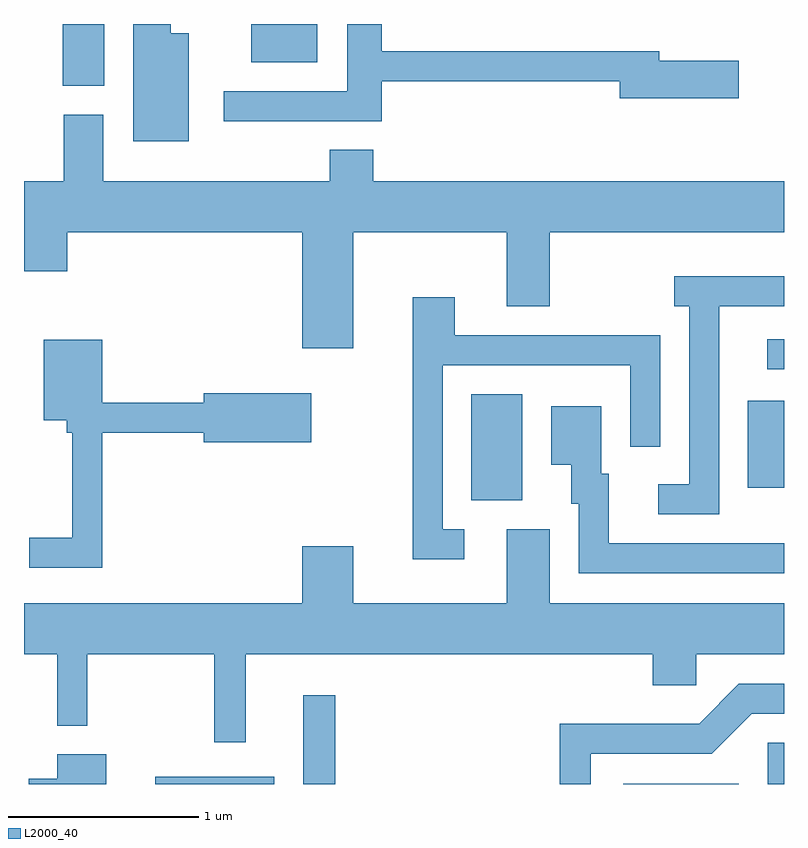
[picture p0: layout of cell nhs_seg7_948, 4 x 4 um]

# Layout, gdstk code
import gdstk
lib = gdstk.Library(unit=1e-6, precision=1e-09)
def R(c, l, rs):  # rectangles x0, y0, x1, y1
    for r in rs: c.add(gdstk.rectangle(r[:2], r[2:], *l))
def P(c, l, *ps):  # polygons
    for p in ps: c.add(gdstk.Polygon(p, *l))
L2000_40 = (2000, 40)

nhs_seg7_948 = lib.new_cell('nhs_seg7_948')
R(nhs_seg7_948, L2000_40, [(214.301,1760.252,214.929,1760.289), (215.081,1760.252,215.249,1760.718), (216.766,1760.252,217.374,1760.254), (217.526,1760.252,217.611,1760.469), (215.966,1761.746,216.234,1762.304), (217.421,1761.811,217.611,1762.269), (217.523,1762.436,217.611,1762.594), (213.816,1763.926,214.034,1764.252), (214.806,1764.051,215.154,1764.252)])
P(nhs_seg7_948, L2000_40, [(215.494,1763.951),(216.746,1763.951),(216.746,1763.861),(217.374,1763.861),(217.374,1764.059),(216.954,1764.059),(216.954,1764.109),(215.494,1764.109),(215.494,1764.252),(215.311,1764.252),(215.311,1763.899),(214.663,1763.899),(214.663,1763.741),(215.494,1763.741)],
  [(214.479,1764.204),(214.384,1764.204),(214.384,1764.252),(214.186,1764.252),(214.186,1763.636),(214.479,1763.636)],
  [(215.344,1763.156),(216.151,1763.156),(216.151,1762.766),(216.379,1762.766),(216.379,1763.156),(217.611,1763.156),(217.611,1763.424),(215.449,1763.424),(215.449,1763.589),(215.221,1763.589),(215.221,1763.424),(214.029,1763.424),(214.029,1763.774),(213.821,1763.774),(213.821,1763.424),(213.611,1763.424),(213.611,1762.951),(213.839,1762.951),(213.839,1763.156),(215.076,1763.156),(215.076,1762.546),(215.344,1762.546)],
  [(217.269,1762.766),(217.611,1762.766),(217.611,1762.924),(217.033,1762.924),(217.033,1762.766),(217.111,1762.766),(217.111,1761.829),(216.948,1761.829),(216.948,1761.671),(217.269,1761.671)],
  [(215.928,1761.594),(215.814,1761.594),(215.814,1762.456),(216.801,1762.456),(216.801,1762.028),(216.959,1762.028),(216.959,1762.614),(215.879,1762.614),(215.879,1762.814),(215.656,1762.814),(215.656,1761.436),(215.928,1761.436)],
  [(214.024,1762.101),(214.556,1762.101),(214.556,1762.051),(215.124,1762.051),(215.124,1762.309),(214.556,1762.309),(214.556,1762.259),(214.024,1762.259),(214.024,1762.589),(213.716,1762.589),(213.716,1762.166),(213.836,1762.166),(213.836,1762.101),(213.866,1762.101),(213.866,1761.549),(213.638,1761.549),(213.638,1761.391),(214.024,1761.391)],
  [(217.611,1761.519),(216.689,1761.519),(216.689,1761.884),(216.649,1761.884),(216.649,1762.239),(216.386,1762.239),(216.386,1761.931),(216.491,1761.931),(216.491,1761.726),(216.531,1761.726),(216.531,1761.361),(217.611,1761.361)],
  [(214.779,1760.936),(216.921,1760.936),(216.921,1760.771),(217.149,1760.771),(217.149,1760.936),(217.611,1760.936),(217.611,1761.204),(216.379,1761.204),(216.379,1761.594),(216.151,1761.594),(216.151,1761.204),(215.344,1761.204),(215.344,1761.504),(215.076,1761.504),(215.076,1761.204),(213.611,1761.204),(213.611,1760.936),(213.786,1760.936),(213.786,1760.558),(213.944,1760.558),(213.944,1760.936),(214.611,1760.936),(214.611,1760.473),(214.779,1760.473)],
  [(216.594,1760.411),(217.232,1760.411),(217.442,1760.621),(217.611,1760.621),(217.611,1760.779),(217.374,1760.779),(217.164,1760.569),(216.431,1760.569),(216.431,1760.252),(216.594,1760.252)],
  [(214.044,1760.409),(213.786,1760.409),(213.786,1760.279),(213.636,1760.279),(213.636,1760.252),(214.044,1760.252)])

lib.write_gds('nhs_seg7_948.gds')
